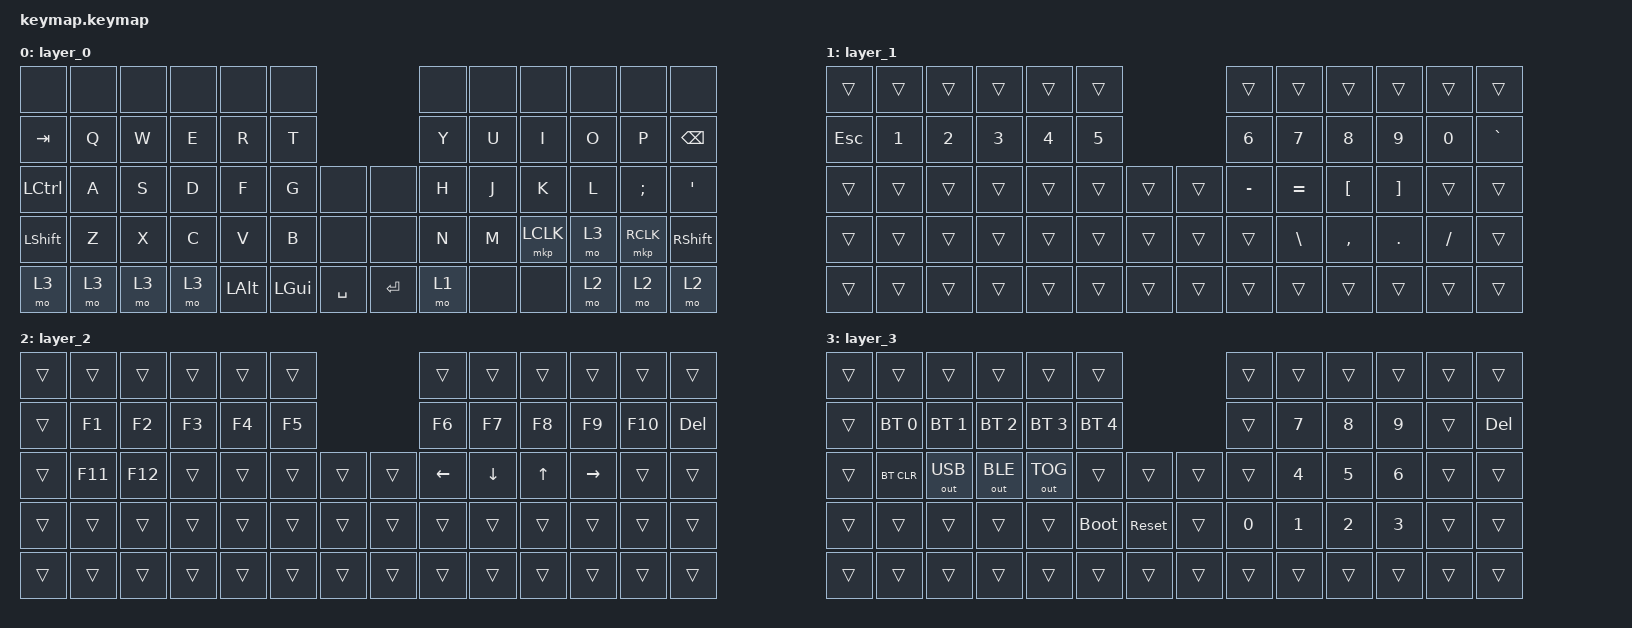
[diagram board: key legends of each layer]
#include <behaviors.dtsi>
#include <dt-bindings/zmk/bt.h>
#include <dt-bindings/zmk/keys.h>
#include <dt-bindings/zmk/outputs.h>
#include <dt-bindings/zmk/pointing.h>

/ {
    keymap {
        compatible = "zmk,keymap";

        layer_0 {
            bindings = <
&none      &none         &none         &none         &none         &none                              &none      &none          &none             &none              &none      &none
&kp TAB    &kp Q         &kp W         &kp E         &kp R         &kp T                              &kp Y      &kp U          &kp I             &kp O              &kp P      &kp BSPC
&kp LCTRL  &kp A         &kp S         &kp D         &kp F         &kp G         &none       &none    &kp H      &kp J          &kp K             &kp L              &kp SEMI   &kp SQT
&kp LSHFT  &kp Z         &kp X         &kp C         &kp V         &kp B         &none       &none    &kp N      &kp M          &mkp LCLK         &mo 3              &mkp RCLK  &kp RSHFT
&mo 3      &mo 3         &mo 3         &mo 3         &kp LALT      &kp LGUI      &kp SPACE   &kp RET  &mo 1      &none          &none             &mo 2              &mo 2      &mo 2
            >;
        };

        layer_1 {
            bindings = <
&trans     &trans        &trans        &trans        &trans        &trans                             &trans     &trans         &trans            &trans             &trans     &trans
&kp ESC    &kp N1        &kp N2        &kp N3        &kp N4        &kp N5                             &kp N6     &kp N7         &kp N8            &kp N9             &kp N0     &kp GRAVE
&trans     &trans        &trans        &trans        &trans        &trans        &trans      &trans   &kp MINUS  &kp EQUAL      &kp LEFT_BRACKET  &kp RIGHT_BRACKET  &trans     &trans
&trans     &trans        &trans        &trans        &trans        &trans        &trans      &trans   &trans     &kp BACKSLASH  &kp COMMA         &kp DOT            &kp FSLH   &trans
&trans     &trans        &trans        &trans        &trans        &trans        &trans      &trans   &trans     &trans         &trans            &trans             &trans     &trans
            >;
        };

        layer_2 {
            bindings = <
&trans     &trans        &trans        &trans        &trans        &trans                             &trans     &trans         &trans            &trans             &trans     &trans
&trans     &kp F1        &kp F2        &kp F3        &kp F4        &kp F5                             &kp F6     &kp F7         &kp F8            &kp F9             &kp F10    &kp DEL
&trans     &kp F11       &kp F12       &trans        &trans        &trans        &trans      &trans   &kp LEFT   &kp DOWN       &kp UP            &kp RIGHT          &trans     &trans
&trans     &trans        &trans        &trans        &trans        &trans        &trans      &trans   &trans     &trans         &trans            &trans             &trans     &trans
&trans     &trans        &trans        &trans        &trans        &trans        &trans      &trans   &trans     &trans         &trans            &trans             &trans     &trans
            >;
        };

        layer_3 {
            bindings = <
&trans     &trans        &trans        &trans        &trans        &trans                             &trans     &trans         &trans            &trans             &trans     &trans
&trans     &bt BT_SEL 0  &bt BT_SEL 1  &bt BT_SEL 2  &bt BT_SEL 3  &bt BT_SEL 4                       &trans     &kp N7         &kp N8            &kp N9             &trans     &kp DEL
&trans     &bt BT_CLR    &out OUT_USB  &out OUT_BLE  &out OUT_TOG  &trans        &trans      &trans   &trans     &kp N4         &kp N5            &kp N6             &trans     &trans
&trans     &trans        &trans        &trans        &trans        &bootloader   &sys_reset  &trans   &kp N0     &kp N1         &kp N2            &kp N3             &trans     &trans
&trans     &trans        &trans        &trans        &trans        &trans        &trans      &trans   &trans     &trans         &trans            &trans             &trans     &trans
            >;
        };
    };
};
